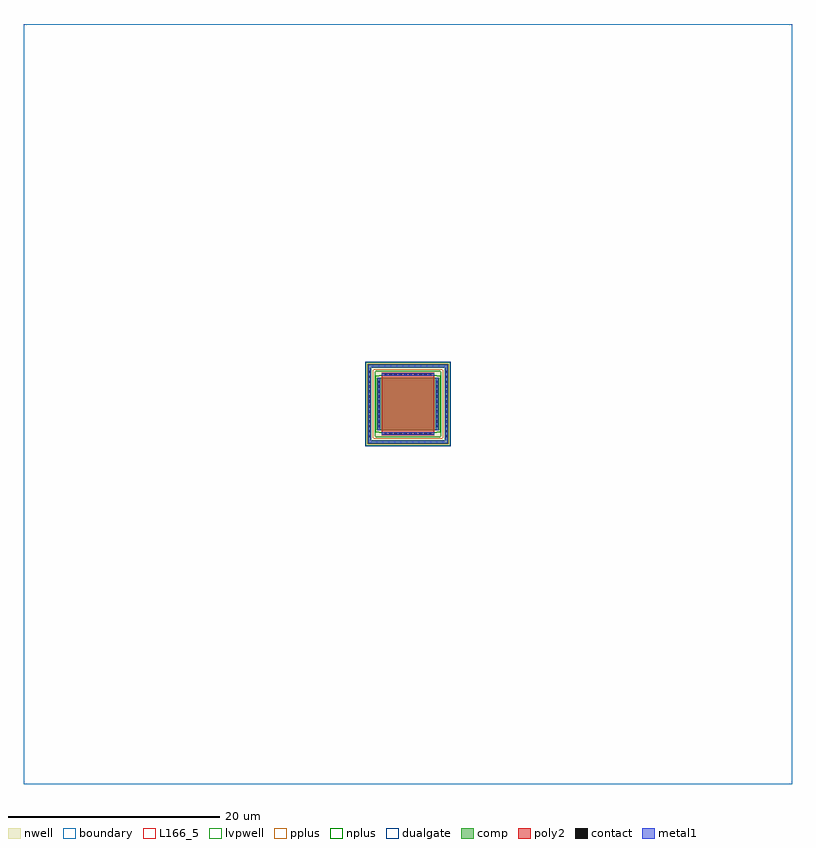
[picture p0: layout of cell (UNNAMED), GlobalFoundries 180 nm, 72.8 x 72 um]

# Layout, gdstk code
import gdstk
lib = gdstk.Library(unit=1e-6, precision=1e-09)
def R(c, l, rs):  # rectangles x0, y0, x1, y1
    for r in rs: c.add(gdstk.rectangle(r[:2], r[2:], *l))
def A(c, l, x, y, w, h, nx, ny, dx, dy):  # array of equal rectangles
    R(c, l, [(x+i*dx, y+j*dy, x+i*dx+w, y+j*dy+h) for i in range(nx) for j in range(ny)])
boundary = (0, 0)
nwell = (21, 0)
comp = (22, 0)
poly2 = (30, 0)
pplus = (31, 0)
nplus = (32, 0)
contact = (33, 0)
metal1 = (34, 0)
dualgate = (55, 0)
L166_5 = (166, 5)
lvpwell = (204, 0)

c__unnamed_ = lib.new_cell('(UNNAMED)')
R(c__unnamed_, boundary, [(-36.4,-36,36.4,36)])
R(c__unnamed_, nwell, [(-3.1,-3.12,3.1,3.12)])
R(c__unnamed_, comp, [(-3.82,-3.78,3.82,-3.42), (-3.82,-3.42,-3.46,3.42), (3.46,-3.42,3.82,3.42), (-2.94,-2.5,2.94,2.5), (-3.82,3.42,3.82,3.78)])
R(c__unnamed_, poly2, [(-2.5,-2.96,2.5,2.96)])
R(c__unnamed_, pplus, [(-3.84,-3.8,3.84,-3.295), (-3.85,-3.295,3.85,-3.26), (-3.85,-3.26,-3.3,3.26), (3.3,-3.26,3.85,3.26), (-3.85,3.26,3.85,3.295), (-3.84,3.295,3.84,3.8)])
R(c__unnamed_, nplus, [(-2.73,-2.73,2.73,-2.66), (-3.1,-2.66,3.1,2.66), (-2.73,2.66,2.73,2.73)])
A(c__unnamed_, contact, -3.75, -3.165, 0.22, 0.22, 1, 14, 0, 0.47)
A(c__unnamed_, contact, 3.53, -3.165, 0.22, 0.22, 1, 14, 0, 0.47)
A(c__unnamed_, contact, -2.225, -2.89, 0.22, 0.22, 10, 2, 0.47, 5.56)
A(c__unnamed_, contact, -2.87, -2.225, 0.22, 0.22, 1, 10, 0, 0.47)
A(c__unnamed_, contact, 2.65, -2.225, 0.22, 0.22, 1, 10, 0, 0.47)
R(c__unnamed_, metal1, [(-3.755,-3.715,3.755,-3.485), (-3.755,-3.485,-3.525,3.485), (3.525,-3.485,3.755,3.485), (-2.49,-2.895,2.49,-2.665), (-2.875,-2.49,-2.645,2.49), (2.645,-2.49,2.875,2.49), (-2.49,2.665,2.49,2.895), (-3.755,3.485,3.755,3.715)])
R(c__unnamed_, dualgate, [(-4.06,-4.02,4.06,4.02)])
R(c__unnamed_, L166_5, [(-2.5,-2.5,2.5,2.5)])
R(c__unnamed_, lvpwell, [(-3.98,-3.94,3.98,-3.12), (-3.98,-3.12,-3.1,3.12), (3.1,-3.12,3.98,3.12), (-3.98,3.12,3.98,3.94)])

lib.write_gds('_UNNAMED_.gds')
